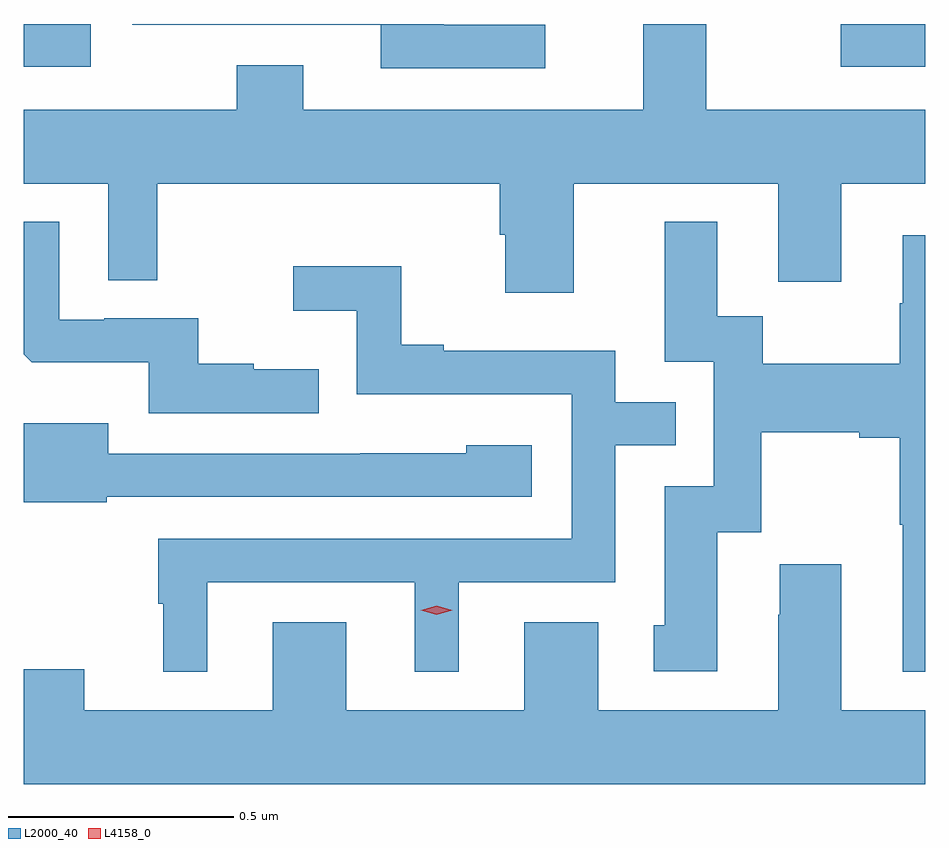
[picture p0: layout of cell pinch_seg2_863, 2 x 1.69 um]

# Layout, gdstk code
import gdstk
lib = gdstk.Library(unit=1e-6, precision=1e-09)
def R(c, l, rs):  # rectangles x0, y0, x1, y1
    for r in rs: c.add(gdstk.rectangle(r[:2], r[2:], *l))
def P(c, l, *ps):  # polygons
    for p in ps: c.add(gdstk.Polygon(p, *l))
L2000_40 = (2000, 40)
L4158_0 = (4158, 0)

pinch_seg2_863 = lib.new_cell('pinch_seg2_863')
R(pinch_seg2_863, L2000_40, [(768.941,587.955,769.09,588.05), (770.753,587.955,770.941,588.05)])
P(pinch_seg2_863, L2000_40, [(770.161,587.696),(770.615,587.696),(770.615,587.478),(770.755,587.478),(770.755,587.696),(770.941,587.696),(770.941,587.86),(770.455,587.86),(770.455,588.05),(770.315,588.05),(770.315,587.86),(769.561,587.86),(769.561,587.959),(769.414,587.959),(769.414,587.86),(768.941,587.86),(768.941,587.696),(769.128,587.696),(769.128,587.482),(769.237,587.482),(769.237,587.696),(769.997,587.696),(769.997,587.583),(770.009,587.583),(770.009,587.454),(770.161,587.454)],
  [(770.098,588.048),(769.873,588.048),(769.873,588.05),(769.182,588.05),(769.182,588.048),(769.733,588.048),(769.733,587.952),(770.098,587.952)],
  [(769.595,587.284),(769.451,587.284),(769.451,587.296),(769.328,587.296),(769.328,587.397),(769.12,587.397),(769.12,587.394),(769.02,587.394),(769.02,587.611),(768.941,587.611),(768.941,587.317),(768.959,587.3),(769.218,587.3),(769.218,587.187),(769.595,587.187)],
  [(770.941,587.581),(770.891,587.581),(770.891,587.43),(770.884,587.43),(770.884,587.296),(770.581,587.296),(770.581,587.402),(770.479,587.402),(770.479,587.611),(770.363,587.611),(770.363,587.301),(770.472,587.301),(770.472,587.025),(770.363,587.025),(770.363,586.716),(770.339,586.716),(770.339,586.614),(770.479,586.614),(770.479,586.922),(770.577,586.922),(770.577,587.144),(770.795,587.144),(770.795,587.132),(770.884,587.132),(770.884,586.939),(770.891,586.939),(770.891,586.613),(770.941,586.613)],
  [(769.348,586.812),(769.808,586.812),(769.808,586.613),(769.906,586.613),(769.906,586.812),(770.253,586.812),(770.253,587.115),(770.387,587.115),(770.387,587.211),(770.253,587.211),(770.253,587.325),(769.873,587.325),(769.873,587.338),(769.779,587.338),(769.779,587.513),(769.539,587.513),(769.539,587.414),(769.68,587.414),(769.68,587.229),(770.157,587.229),(770.157,586.908),(769.239,586.908),(769.239,586.764),(769.25,586.764),(769.25,586.613),(769.348,586.613)],
  [(769.125,587.001),(770.068,587.001),(770.068,587.116),(769.923,587.116),(769.923,587.098),(769.687,587.098),(769.687,587.097),(769.129,587.097),(769.129,587.164),(768.941,587.164),(768.941,586.989),(769.125,586.989)],
  [(770.941,586.528),(770.755,586.528),(770.755,586.852),(770.618,586.852),(770.618,586.739),(770.615,586.739),(770.615,586.528),(770.215,586.528),(770.215,586.723),(770.051,586.723),(770.051,586.528),(769.657,586.528),(769.657,586.723),(769.493,586.723),(769.493,586.528),(769.075,586.528),(769.075,586.619),(768.941,586.619),(768.941,586.364),(770.941,586.364)])
P(pinch_seg2_863, L4158_0, [(769.857,586.739),(769.822,586.749),(769.821,586.749),(769.822,586.75),(769.857,586.759),(769.892,586.75),(769.892,586.749),(769.892,586.749)])

lib.write_gds('pinch_seg2_863.gds')
